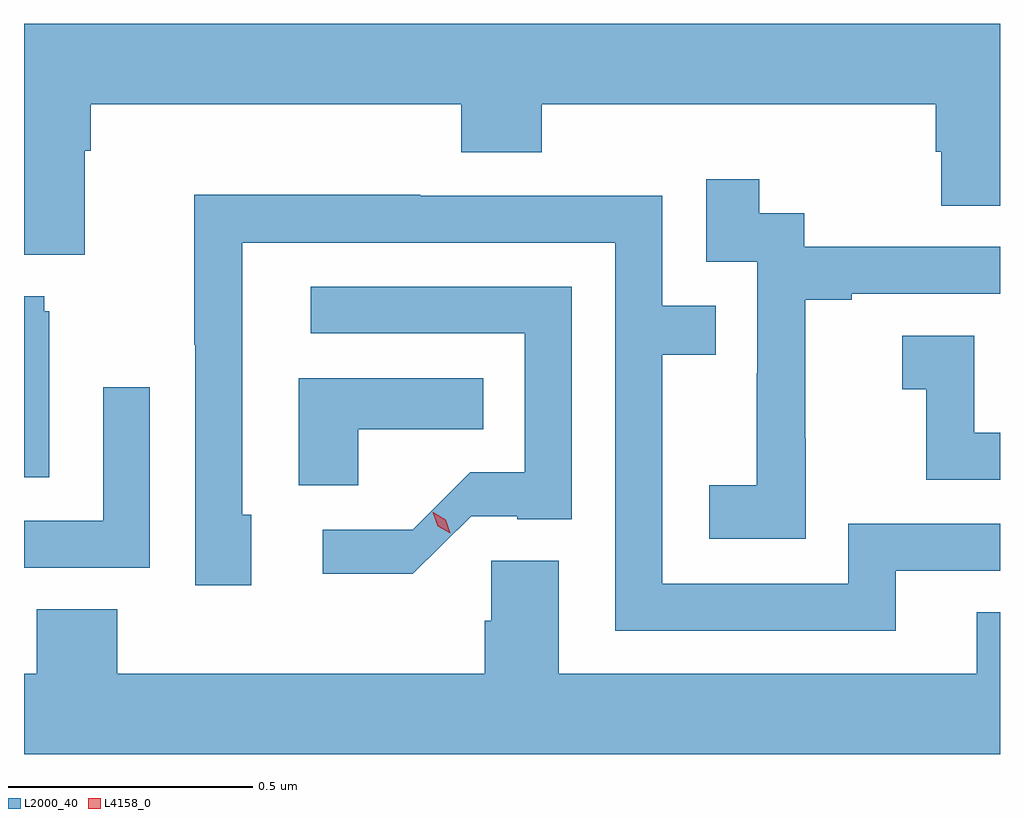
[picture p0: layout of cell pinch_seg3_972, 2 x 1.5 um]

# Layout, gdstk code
import gdstk
lib = gdstk.Library(unit=1e-6, precision=1e-09)
def P(c, l, *ps):  # polygons
    for p in ps: c.add(gdstk.Polygon(p, *l))
L2000_40 = (2000, 40)
L4158_0 = (4158, 0)

pinch_seg3_972 = lib.new_cell('pinch_seg3_972')
P(pinch_seg3_972, L2000_40, [(497.035,714.14),(497.048,714.14),(497.048,714.236),(497.807,714.236),(497.807,714.137),(497.972,714.137),(497.972,714.236),(498.779,714.236),(498.779,714.138),(498.791,714.138),(498.791,714.028),(498.911,714.028),(498.911,714.4),(496.911,714.4),(496.911,713.927),(497.035,713.927)],
  [(498.513,713.551),(498.512,713.551),(498.512,713.835),(498.607,713.835),(498.607,713.847),(498.911,713.847),(498.911,713.943),(498.51,713.943),(498.51,714.012),(498.418,714.012),(498.418,714.082),(498.309,714.082),(498.309,713.913),(498.414,713.913),(498.414,713.684),(498.413,713.684),(498.413,713.455),(498.315,713.455),(498.315,713.345),(498.513,713.345)],
  [(498.697,713.28),(498.911,713.28),(498.911,713.376),(498.6,713.376),(498.6,713.253),(498.219,713.253),(498.219,713.722),(498.329,713.722),(498.329,713.823),(498.219,713.823),(498.219,714.048),(497.723,714.048),(497.723,714.05),(497.26,714.05),(497.26,713.743),(497.262,713.743),(497.262,713.25),(497.377,713.25),(497.377,713.394),(497.358,713.394),(497.358,713.952),(498.123,713.952),(498.123,713.157),(498.697,713.157)],
  [(497.827,713.391),(497.922,713.391),(497.922,713.385),(498.033,713.385),(498.033,713.862),(497.499,713.862),(497.499,713.766),(497.937,713.766),(497.937,713.481),(497.825,713.481),(497.708,713.364),(497.523,713.364),(497.523,713.273),(497.708,713.273)],
  [(496.963,713.811),(496.952,713.811),(496.952,713.842),(496.911,713.842),(496.911,713.471),(496.963,713.471)],
  [(498.911,713.562),(498.858,713.562),(498.858,713.761),(498.711,713.761),(498.711,713.651),(498.76,713.651),(498.76,713.466),(498.911,713.466)],
  [(497.596,713.57),(497.852,713.57),(497.852,713.674),(497.474,713.674),(497.474,713.455),(497.596,713.455)],
  [(497.169,713.656),(497.073,713.656),(497.073,713.382),(496.911,713.382),(496.911,713.286),(497.169,713.286)],
  [(498.911,713.195),(498.863,713.195),(498.863,713.068),(498.007,713.068),(498.007,713.3),(497.868,713.3),(497.868,713.177),(497.855,713.177),(497.855,713.068),(497.102,713.068),(497.102,713.201),(496.937,713.201),(496.937,713.068),(496.911,713.068),(496.911,712.904),(498.911,712.904)])
P(pinch_seg3_972, L4158_0, [(497.784,713.356),(497.759,713.371),(497.749,713.399),(497.749,713.399),(497.75,713.399),(497.775,713.384),(497.784,713.356),(497.784,713.356)])

lib.write_gds('pinch_seg3_972.gds')
